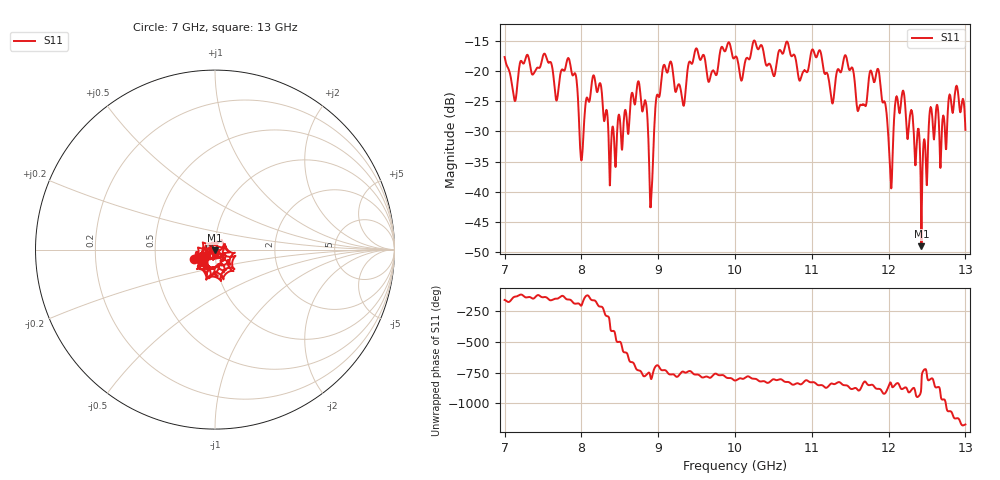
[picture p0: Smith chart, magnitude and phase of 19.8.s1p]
[Version] 2.0
! Rohde & Schwarz Vector Network Analyzer
! Rohde-Schwarz,ZNL20-2Port,1323001220200009,1.71.1.10-23.02.1.238
! Trace info:
! Nominal Param -> Actual Exported Buffer
! S11 -> S22
! Created: GMT+3 2024-09-24 16:40:32
# Hz S DB R 50
[Number of Ports] 1
! freq[Hz]  S11[mag dB]  S11[ang]
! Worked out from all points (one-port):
!   6001 points, 7 GHz to 13 GHz, reference 50 ohm
!   lowest |S11| = -49.0 dB at 12.43 GHz (marker M1), VSWR 1.01, Z = 49.9 - j0.349 ohm
!   |S11| at or under -10 dB: start of sweep to end of sweep
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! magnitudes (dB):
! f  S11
! 7 GHz  -17.7
! 7.131 GHz  -24.9
! 7.289 GHz  -17.4
! 7.75 GHz  -19.8
! 7.921 GHz  -20.5
! 8.001 GHz  -34.8
! 8.157 GHz  -20.7
! 8.373 GHz  -38.6
! 8.5 GHz  -27.9
! 8.746 GHz  -21.8
! 8.843 GHz  -25.5
! 8.908 GHz  -41.3
! 8.973 GHz  -24.7
! 9.066 GHz  -19.2
! 9.25 GHz  -22.7
! 10 GHz  -17.7
! 10.75 GHz  -17.5
! 11.1 GHz  -16.6
! 11.27 GHz  -25.4
! 11.5 GHz  -19.8
! 11.61 GHz  -26.2
! 11.87 GHz  -19.8
! 12.03 GHz  -38.5
! 12.1 GHz  -24.3
! 12.25 GHz  -31.1
! 12.43 GHz  -49.0
! 12.55 GHz  -26.0
! 13 GHz  -29.8
